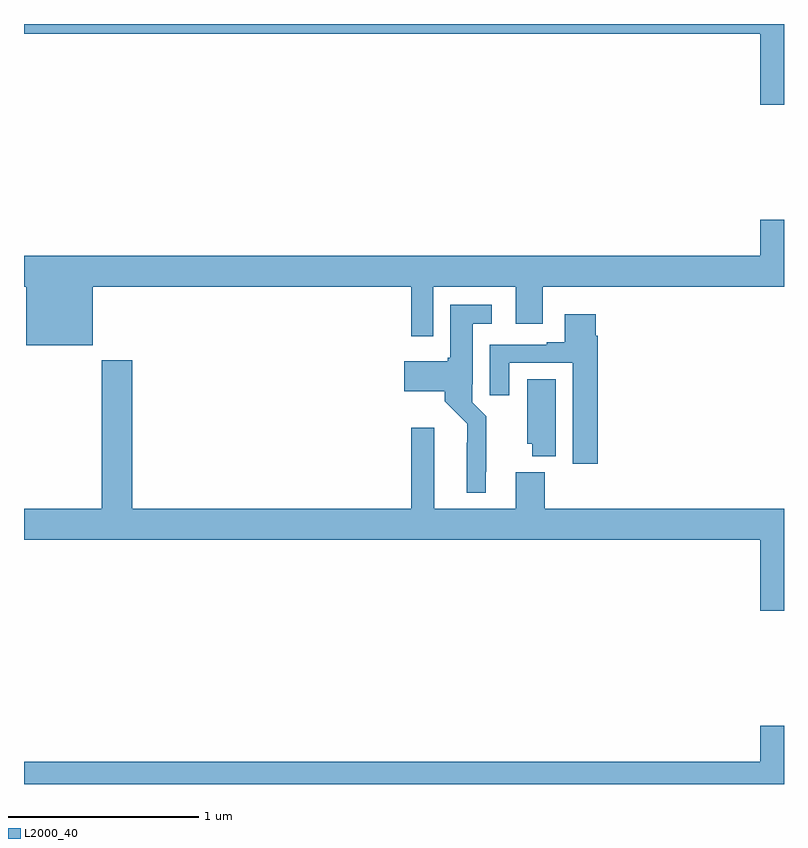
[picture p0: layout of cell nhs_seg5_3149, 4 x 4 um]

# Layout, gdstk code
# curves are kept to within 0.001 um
import gdstk
lib = gdstk.Library(unit=1e-6, precision=1e-09)
def P(c, l, *ps):  # polygons
    for p in ps: c.add(gdstk.Polygon(p, *l))
L2000_40 = (2000, 40)

nhs_seg5_3149 = lib.new_cell('nhs_seg5_3149')
P(nhs_seg5_3149, L2000_40, [(293,868.748),(296.876,868.748),(296.876,868.374),(297,868.374),(297,868.799),(293,868.799)],
  [(293.362,867.416),(295.039,867.416),(295.039,867.156),(295.155,867.156),(295.155,867.416),(295.589,867.416),(295.589,867.222),(295.729,867.222),(295.729,867.416),(297,867.416),(297,867.769),(296.876,867.769),(296.876,867.58),(293,867.58),(293,867.416),(293.012,867.416),(293.012,867.107),(293.362,867.107)],
  [(295.429,866.443),(295.433,866.443),(295.433,866.734),(295.359,866.808),(295.359,866.902),(295.363,866.902),(295.363,867.221),(295.462,867.221),(295.462,867.322),(295.244,867.322),(295.244,867.042),(295.23,867.042),(295.23,867.025),(295.002,867.025),(295.002,866.867),(295.214,866.867),(295.214,866.814),(295.332,866.696),(295.331,866.333),(295.429,866.333)],
  [(296.021,867.158),(296.008,867.158),(296.008,867.271),(295.847,867.271),(295.847,867.124),(295.751,867.124),(295.751,867.111),(295.451,867.111),(295.451,866.844),(295.555,866.844),(295.555,867.015),(295.889,867.015),(295.889,866.484),(296.021,866.484)],
  [(297,866.248),(295.742,866.248),(295.742,866.44),(295.589,866.44),(295.589,866.248),(295.159,866.248),(295.159,866.674),(295.037,866.674),(295.037,866.248),(293.57,866.248),(293.57,867.028),(293.41,867.028),(293.41,866.248),(293,866.248),(293,866.084),(296.876,866.084),(296.876,865.71),(297,865.71)],
  [(295.798,866.93),(295.649,866.93),(295.649,866.589),(295.676,866.589),(295.676,866.525),(295.798,866.525)],
  [(297,865.105),(296.876,865.105),(296.876,864.916),(293,864.916),(293,864.799),(297,864.799)])

lib.write_gds('nhs_seg5_3149.gds')
